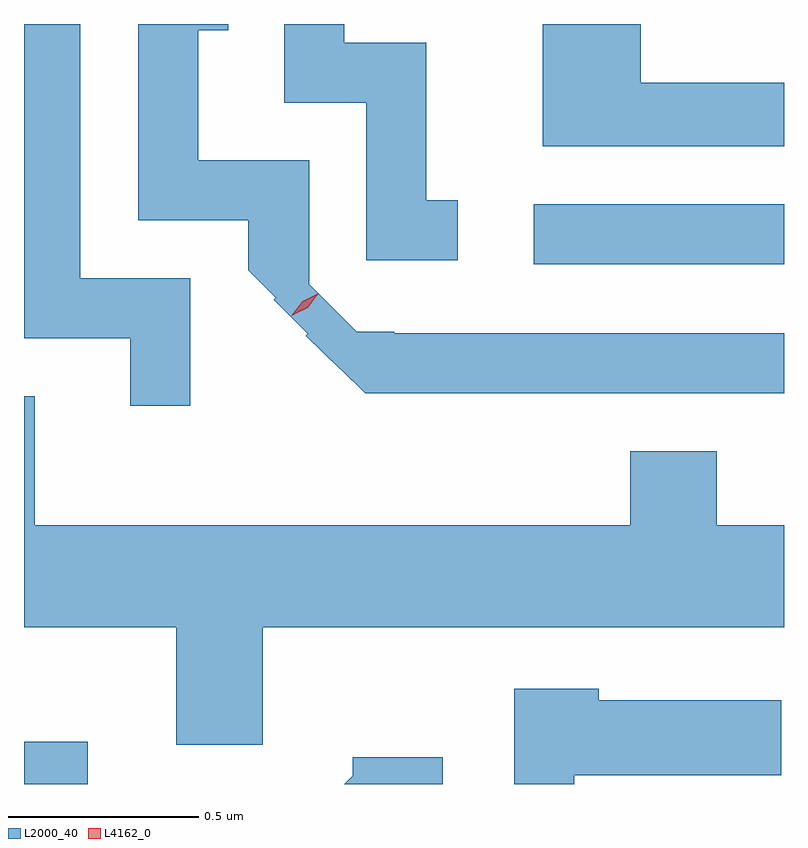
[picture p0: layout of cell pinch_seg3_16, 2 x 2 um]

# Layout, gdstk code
import gdstk
lib = gdstk.Library(unit=1e-6, precision=1e-09)
def R(c, l, rs):  # rectangles x0, y0, x1, y1
    for r in rs: c.add(gdstk.rectangle(r[:2], r[2:], *l))
def P(c, l, *ps):  # polygons
    for p in ps: c.add(gdstk.Polygon(p, *l))
L2000_40 = (2000, 40)
L4162_0 = (4162, 0)

pinch_seg3_16 = lib.new_cell('pinch_seg3_16')
R(pinch_seg3_16, L2000_40, [(826.251,1167.783,826.419,1167.894), (827.593,1169.151,828.251,1169.309)])
P(pinch_seg3_16, L2000_40, [(827.393,1169.319),(827.309,1169.319),(827.309,1169.734),(827.094,1169.734),(827.094,1169.783),(826.936,1169.783),(826.936,1169.576),(827.151,1169.576),(827.151,1169.161),(827.393,1169.161)],
  [(828.251,1168.969),(827.225,1168.969),(827.225,1168.973),(827.126,1168.973),(827.001,1169.098),(827.001,1169.424),(826.709,1169.424),(826.709,1169.766),(826.788,1169.766),(826.788,1169.783),(826.551,1169.783),(826.551,1169.266),(826.841,1169.266),(826.841,1169.135),(826.913,1169.063),(826.908,1169.058),(826.998,1168.968),(826.993,1168.963),(827.083,1168.874),(827.085,1168.875),(827.149,1168.811),(828.251,1168.811)],
  [(828.251,1169.629),(827.874,1169.629),(827.874,1169.783),(827.616,1169.783),(827.616,1169.461),(828.251,1169.461)],
  [(826.689,1169.114),(826.399,1169.114),(826.399,1169.783),(826.251,1169.783),(826.251,1168.956),(826.531,1168.956),(826.531,1168.778),(826.689,1168.778)],
  [(826.879,1168.196),(828.251,1168.196),(828.251,1168.464),(828.074,1168.464),(828.074,1168.659),(827.846,1168.659),(827.846,1168.464),(826.279,1168.464),(826.279,1168.804),(826.251,1168.804),(826.251,1168.196),(826.651,1168.196),(826.651,1167.886),(826.879,1167.886)],
  [(827.699,1167.806),(828.244,1167.806),(828.244,1168.004),(827.764,1168.004),(827.764,1168.034),(827.541,1168.034),(827.541,1167.783),(827.699,1167.783)],
  [(827.353,1167.854),(827.116,1167.854),(827.116,1167.805),(827.094,1167.783),(827.353,1167.783)])
P(pinch_seg3_16, L4162_0, [(826.955,1169.015),(826.955,1169.016),(826.984,1169.053),(827.026,1169.075),(827.027,1169.075),(827.027,1169.074),(826.997,1169.037),(826.956,1169.015)],
  [(826.96,1169.018),(826.96,1169.019),(826.985,1169.052),(827.022,1169.07),(827.023,1169.07),(827.023,1169.07),(826.998,1169.036),(826.96,1169.018)])

lib.write_gds('pinch_seg3_16.gds')
